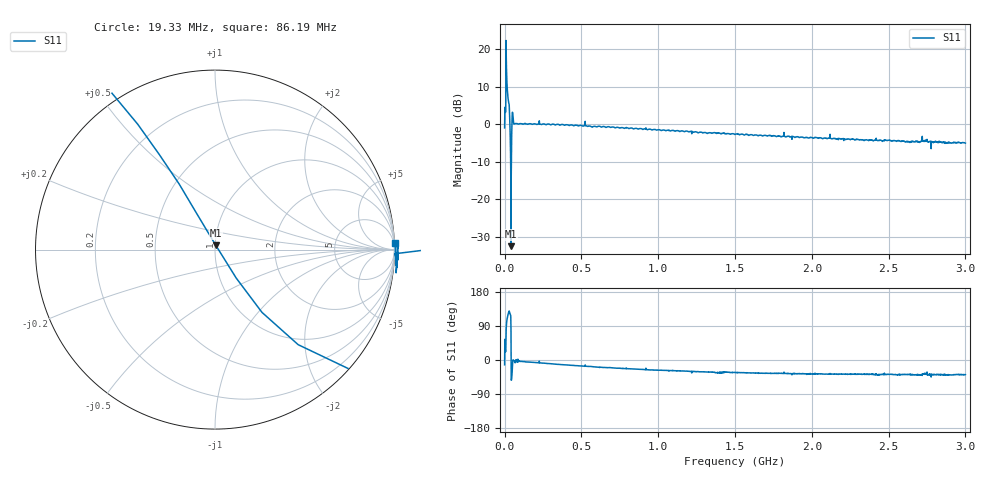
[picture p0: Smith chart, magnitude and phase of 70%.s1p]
# HZ S RI R 50
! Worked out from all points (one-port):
!   2020 points, 10 kHz to 3 GHz, reference 50 ohm
!   lowest |S11| = -32.5 dB at 41.61 MHz (marker M1), VSWR 1.05, Z = 50.4 + j2.34 ohm
!   |S11| at or under -10 dB: 39.28 MHz to 43.98 MHz (4.703 MHz wide, 11.3 % of centre)
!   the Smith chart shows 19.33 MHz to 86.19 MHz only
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10000  0.8694 -0.1952
2981758  1.402 0.9296
5953516  1.35 0.5321
1.486879e7  -0.9483 3.569
1.635467e7  -1.031 3.022
2.378406e7  -1.119 1.777
2.526994e7  -1.126 1.656
2.675582e7  -1.135 1.557
2.972758e7  -1.155 1.407
3.269934e7  -0.7504 1.045
3.56711e7  -0.4303 0.6982
4.161461e7  0.00484 0.0232
4.755813e7  0.7409 -0.6621
5.350164e7  1.356 -0.0638
5.64734e7  1.143 -0.00562
5.944516e7  1.017 -0.0211
6.39028e7  1.008 -0.041
6.836043e7  1.009 -0.1292
7.578983e7  1.019 0.0182
3.759374e8  0.9666 -0.2109
7.503789e8  0.8211 -0.3277
1.126306e9  0.7215 -0.3911
1.500748e9  0.61 -0.3976
1.875189e9  0.5535 -0.4033
2.251117e9  0.4873 -0.3832
2.625558e9  0.4621 -0.3608
2.735513e9  0.493 -0.3471
3e9  0.4367 -0.3481
